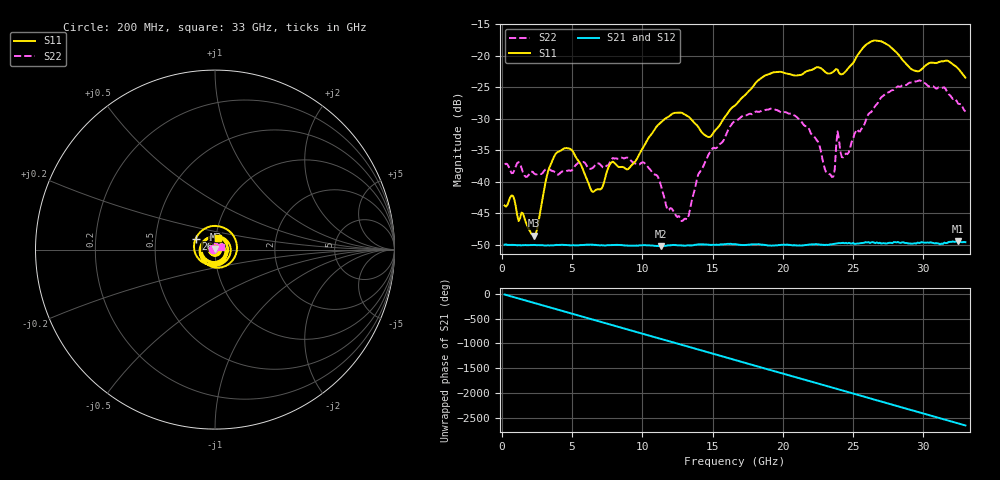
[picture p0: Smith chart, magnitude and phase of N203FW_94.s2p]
# GHZ S RI R 50
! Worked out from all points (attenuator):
!   329 points, 200 MHz to 33 GHz, reference 50 ohm
!   highest |S21| = -49.45 dB at 32.5 GHz (marker M1); lowest = -50.2 dB at 11.3 GHz (marker M2)
!   lowest |S11| = -48.5 dB at 2.3 GHz (marker M3), VSWR 1.01, Z = 50.2 + j0.311 ohm
!   |S11| at or under -10 dB: start of sweep to end of sweep
!   |S22| runs from -46.2 to -23.9 dB; largest |S21 - S12| = 8.7e-05
!   S11 on the Smith chart (normalised r, x): 200 MHz: 1.01, -0.00; 26 GHz: 0.80, +0.10; 33 GHz: 1.03, +0.13
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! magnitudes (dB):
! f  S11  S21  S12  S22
! 200 MHz  -43.7  -50.0  -49.9  -37.2
! 800 MHz  -42.2  -50.0  -50.0  -38.6
! 2.3 GHz  -48.5  -50.0  -50.0  -38.7
! 3.8 GHz  -35.7  -50.0  -50.0  -38.5
! 5.7 GHz  -37.6  -50.0  -50.0  -36.9
! 7 GHz  -41.2  -50.1  -50.0  -37.2
! 11.2 GHz  -30.8  -50.2  -50.2  -39.7
! 11.3 GHz  -30.6  -50.2  -50.2  -40.4
! 11.8 GHz  -29.8  -50.1  -50.1  -44.5
! 13.2 GHz  -29.5  -50.1  -50.1  -46.0
! 14.8 GHz  -32.9  -50.0  -50.0  -35.3
! 16.6 GHz  -27.9  -49.9  -49.9  -30.4
! 19.3 GHz  -22.7  -50.1  -50.1  -28.4
! 22.1 GHz  -22.2  -49.9  -49.9  -32.6
! 23.6 GHz  -22.5  -49.9  -49.9  -39.2
! 23.9 GHz  -22.2  -49.8  -49.8  -32.0
! 24.3 GHz  -22.8  -49.7  -49.6  -36.1
! 26 GHz  -18.1  -49.6  -49.6  -29.7
! 27.6 GHz  -18.5  -49.7  -49.7  -25.7
! 29.8 GHz  -22.3  -49.6  -49.7  -23.9
! 32.5 GHz  -22.1  -49.4  -49.4  -27.6
! 33 GHz  -23.5  -49.6  -49.6  -28.9
